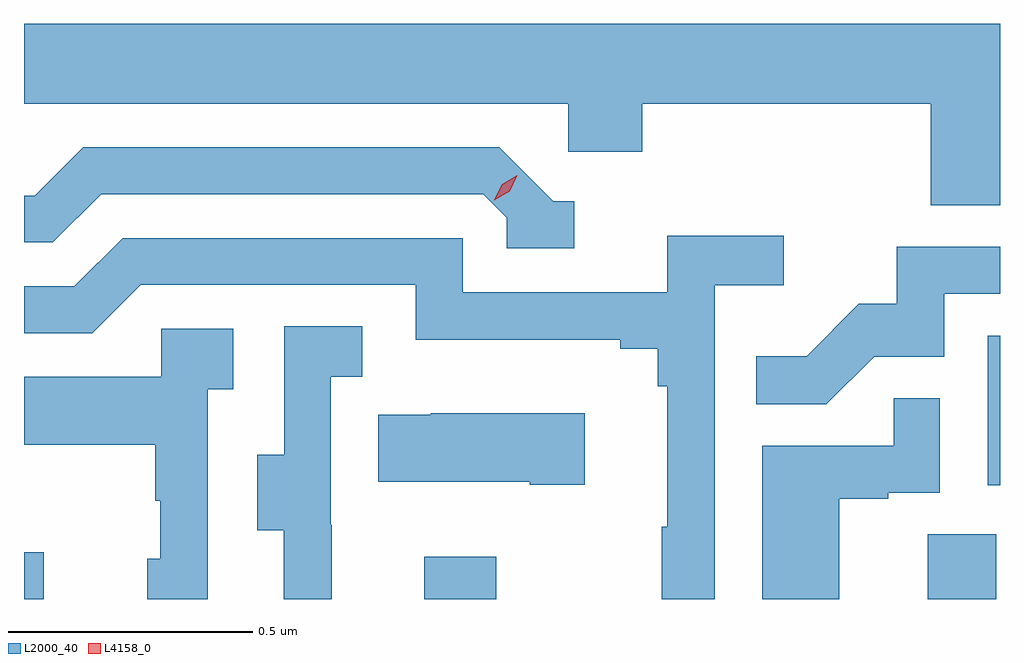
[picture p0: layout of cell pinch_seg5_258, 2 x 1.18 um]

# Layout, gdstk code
import gdstk
lib = gdstk.Library(unit=1e-6, precision=1e-09)
def R(c, l, rs):  # rectangles x0, y0, x1, y1
    for r in rs: c.add(gdstk.rectangle(r[:2], r[2:], *l))
def P(c, l, *ps):  # polygons
    for p in ps: c.add(gdstk.Polygon(p, *l))
L2000_40 = (2000, 40)
L4158_0 = (4158, 0)

pinch_seg5_258 = lib.new_cell('pinch_seg5_258')
R(pinch_seg5_258, L2000_40, [(932.839,902.365,932.879,902.461), (933.659,902.365,933.807,902.452), (934.691,902.365,934.831,902.498), (934.814,902.598,934.839,902.905)])
P(pinch_seg5_258, L2000_40, [(934.839,903.544),(932.839,903.544),(932.839,903.38),(933.954,903.38),(933.954,903.282),(934.106,903.282),(934.106,903.38),(934.697,903.38),(934.697,903.172),(934.839,903.172)],
  [(933.967,903.18),(933.924,903.18),(933.813,903.291),(932.96,903.291),(932.861,903.192),(932.839,903.192),(932.839,903.096),(932.898,903.096),(932.997,903.195),(933.78,903.195),(933.828,903.147),(933.828,903.084),(933.967,903.084)],
  [(934.254,903.008),(934.396,903.008),(934.396,903.11),(934.157,903.11),(934.157,902.994),(933.738,902.994),(933.738,903.105),(933.041,903.105),(932.942,903.006),(932.839,903.006),(932.839,902.91),(932.979,902.91),(933.078,903.009),(933.642,903.009),(933.642,902.897),(934.061,902.897),(934.061,902.878),(934.138,902.878),(934.138,902.801),(934.157,902.801),(934.157,902.513),(934.146,902.513),(934.146,902.365),(934.254,902.365)],
  [(934.581,902.862),(934.725,902.862),(934.725,902.991),(934.839,902.991),(934.839,903.087),(934.627,903.087),(934.627,902.97),(934.55,902.97),(934.443,902.863),(934.339,902.863),(934.339,902.764),(934.483,902.764)],
  [(933.47,902.517),(933.468,902.517),(933.468,902.821),(933.532,902.821),(933.532,902.924),(933.372,902.924),(933.372,902.661),(933.317,902.661),(933.317,902.506),(933.371,902.506),(933.371,902.365),(933.47,902.365)],
  [(933.216,902.795),(933.268,902.795),(933.268,902.919),(933.12,902.919),(933.12,902.821),(932.839,902.821),(932.839,902.681),(933.108,902.681),(933.108,902.567),(933.118,902.567),(933.118,902.448),(933.092,902.448),(933.092,902.365),(933.216,902.365)],
  [(934.51,902.571),(934.61,902.571),(934.61,902.583),(934.716,902.583),(934.716,902.777),(934.621,902.777),(934.621,902.679),(934.352,902.679),(934.352,902.365),(934.51,902.365)],
  [(933.988,902.746),(933.673,902.746),(933.673,902.743),(933.565,902.743),(933.565,902.606),(933.875,902.606),(933.875,902.599),(933.988,902.599)])
P(pinch_seg5_258, L4158_0, [(933.803,903.182),(933.803,903.183),(933.819,903.215),(933.85,903.234),(933.85,903.234),(933.85,903.234),(933.834,903.201),(933.803,903.182)])

lib.write_gds('pinch_seg5_258.gds')
